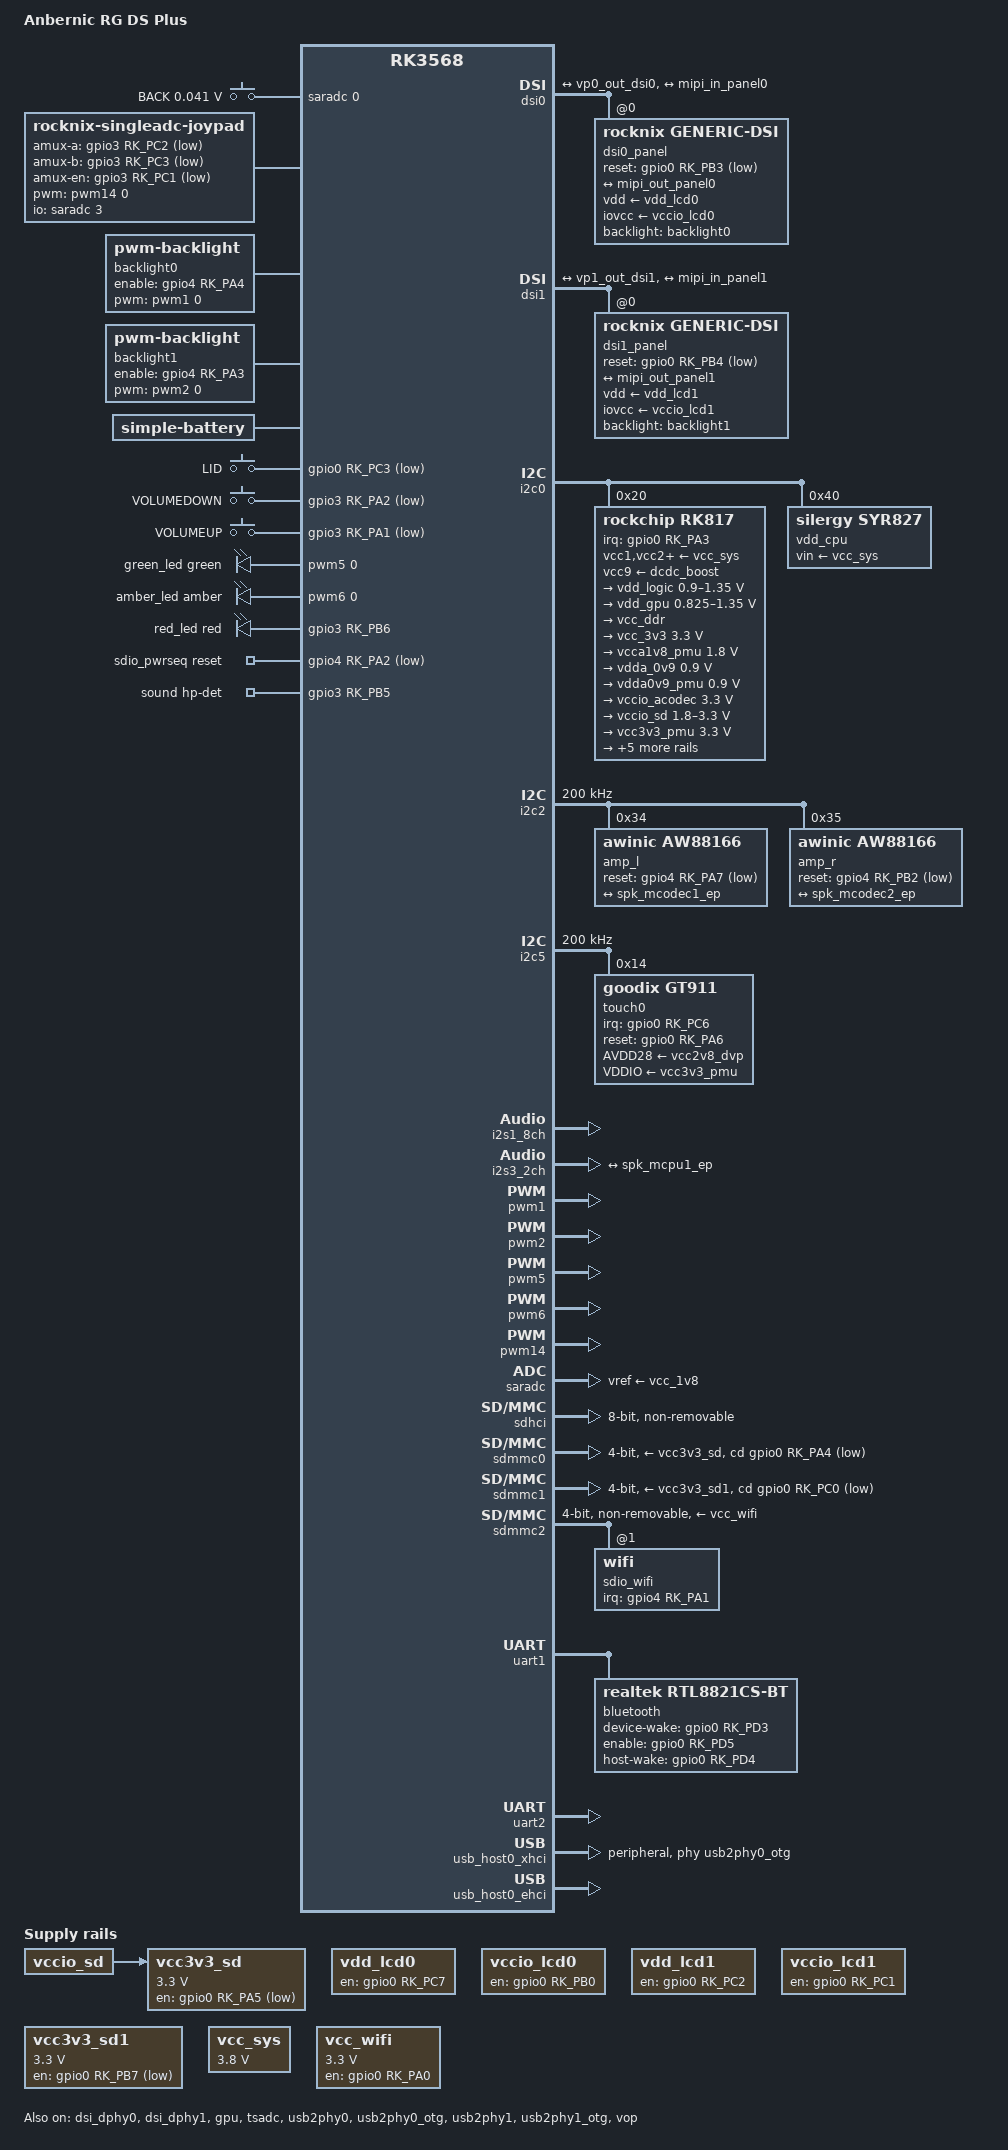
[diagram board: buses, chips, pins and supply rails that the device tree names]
// SPDX-License-Identifier: (GPL-2.0+ OR MIT)

/dts-v1/;

#include <dt-bindings/gpio/gpio.h>
#include <dt-bindings/input/gpio-keys.h>
#include <dt-bindings/input/linux-event-codes.h>
#include <dt-bindings/leds/common.h>
#include <dt-bindings/pinctrl/rockchip.h>
#include <dt-bindings/soc/rockchip,vop2.h>
#include "rockchip/rk3568.dtsi"

/ {
	model = "Anbernic RG DS Plus";
	chassis-type = "handset";
	compatible = "anbernic,rg-ds-plus", "rockchip,rk3568";

	aliases {
		mmc0 = &sdhci;
		mmc1 = &sdmmc0;
		mmc2 = &sdmmc1;
		mmc3 = &sdmmc2;
	};

	chosen: chosen {
		stdout-path = "serial2:1500000n8";
	};

	adc_keys_back: adc-keys-back {
		compatible = "adc-keys";
		io-channels = <&saradc 0>;
		io-channel-names = "buttons";
		keyup-threshold-microvolt = <1800000>;
		poll-interval = <60>;

		button-back {
			label = "BACK";
			linux,code = <BTN_Z>;
			press-threshold-microvolt = <41000>;
		};
	};

	joypad: rocknix-singleadc-joypad {
		compatible = "rocknix-singleadc-joypad";

		joypad-name = "retrogame_joypad";
		joypad-product = <0x1101>;
		joypad-revision = <0x0100>;
		joypad-vendor = <0x484B>;

		status = "okay";

		pinctrl-names = "default";
		pinctrl-0 = <&gamepad_keys_l>;

		pwms = <&pwm14 0 100000 0>;
		pwm-names = "enable";
		rumble-boost-weak = <0x00>;
		rumble-boost-strong = <0x00>;

		io-channel-names = "amux_adc";
		io-channels = <&saradc 3>;
		amux-count = <4>;
		// Batocera - single stick is on amux ch1 (X) / ch2 (Y), keep it off the right stick axes
		amux-channel-mapping = <0 3 2 1>;
		amux-a-gpios = <&gpio3 RK_PC2 GPIO_ACTIVE_LOW>;
		amux-b-gpios = <&gpio3 RK_PC3 GPIO_ACTIVE_LOW>;
		amux-en-gpios = <&gpio3 RK_PC1 GPIO_ACTIVE_LOW>;

		button-adc-scale = <2>;
		button-adc-deadzone = <64>;
		button-adc-fuzz = <32>;
		button-adc-flat = <32>;

		abs_x-p-tuning = <250>;
		abs_x-n-tuning = <250>;
		abs_y-p-tuning = <250>;
		abs_y-n-tuning = <250>;
		abs_rx-p-tuning = <250>;
		abs_rx-n-tuning = <250>;
		abs_ry-p-tuning = <250>;
		abs_ry-n-tuning = <250>;
		invert-absx;
		invert-absy;
		invert-absry;

		poll-interval = <5>;

		sw1 {
			gpios = <&gpio2 RK_PD4 GPIO_ACTIVE_LOW>;
			label = "GPIO DPAD-UP";
			linux,code = <BTN_DPAD_UP>;
		};
		sw2 {
			gpios = <&gpio2 RK_PD5 GPIO_ACTIVE_LOW>;
			label = "GPIO DPAD-DOWN";
			linux,code = <BTN_DPAD_DOWN>;
		};
		sw3 {
			gpios = <&gpio2 RK_PD7 GPIO_ACTIVE_LOW>;
			label = "GPIO DPAD-LEFT";
			linux,code = <BTN_DPAD_LEFT>;
		};
		sw4 {
			gpios = <&gpio2 RK_PD6 GPIO_ACTIVE_LOW>;
			label = "GPIO DPAD-RIGHT";
			linux,code = <BTN_DPAD_RIGHT>;
		};
		sw5 {
			gpios = <&gpio3 RK_PC0 GPIO_ACTIVE_LOW>;
			label = "GPIO BTN-B";
			linux,code = <BTN_SOUTH>;
		};
		sw6 {
			gpios = <&gpio3 RK_PB7 GPIO_ACTIVE_LOW>;
			label = "GPIO KEY BTN-A";
			linux,code = <BTN_EAST>;
		};
		sw7 {
			gpios = <&gpio3 RK_PA7 GPIO_ACTIVE_LOW>;
			label = "GPIO BTN-X";
			linux,code = <BTN_NORTH>;
		};
		sw8 {
			gpios = <&gpio3 RK_PB0 GPIO_ACTIVE_LOW>;
			label = "GPIO BTN-Y";
			linux,code = <BTN_WEST>;
		};
		sw9 {
			gpios = <&gpio3 RK_PB2 GPIO_ACTIVE_LOW>;
			label = "GPIO BTN-SELECT";
			linux,code = <BTN_SELECT>;
		};
		sw10 {
			gpios = <&gpio3 RK_PB1 GPIO_ACTIVE_LOW>;
			label = "GPIO BTN-START";
			linux,code = <BTN_START>;
		};
		sw11 {
			gpios = <&gpio2 RK_PD1 GPIO_ACTIVE_LOW>;
			label = "GPIO BTN-F";
			linux,code = <BTN_MODE>;
		};
		sw12 {
			gpios = <&gpio3 RK_PA3 GPIO_ACTIVE_LOW>;
			label = "GPIO BTN-TL";
			linux,code = <BTN_TL>;
		};
		sw13 {
			gpios = <&gpio3 RK_PA5 GPIO_ACTIVE_LOW>;
			label = "GPIO BTN-TR";
			linux,code = <BTN_TR>;
		};
		sw14 {
			gpios = <&gpio3 RK_PA4 GPIO_ACTIVE_LOW>;
			label = "GPIO BTN-TL2";
			linux,code = <BTN_TL2>;
		};
		sw15 {
			gpios = <&gpio3 RK_PA6 GPIO_ACTIVE_LOW>;
			label = "GPIO BTN-TR2";
			linux,code = <BTN_TR2>;
		};
		sw16 {
			gpios = <&gpio2 RK_PD2 GPIO_ACTIVE_LOW>;
			label = "GPIO BTN-THUMBL";
			linux,code = <BTN_THUMBL>;
		};
		sw17 {
			gpios = <&gpio2 RK_PD3 GPIO_ACTIVE_LOW>;
			label = "GPIO BTN-THUMBR";
			linux,code = <BTN_THUMBR>;
		};
	};

	backlight0: backlight0 {
		compatible = "pwm-backlight";
		enable-gpios = <&gpio4 RK_PA4 GPIO_ACTIVE_HIGH>;
		pwms = <&pwm1 0 25000 0>;
	};

	backlight1: backlight1 {
		compatible = "pwm-backlight";
		enable-gpios = <&gpio4 RK_PA3 GPIO_ACTIVE_HIGH>;
		pwms = <&pwm2 0 25000 0>;
	};

	/*
	 * Values taken from BSP device-tree. "charge-full-design-microamp-hours"
	 * uses the rk817 battery node's design_capacity, as the simple-battery
	 * node was left at 2500000. "factory-internal-resistance-micro-ohms"
	 * was set at 80 but based on context should likely be 80000.
	 *
	 * "constant-charge-current-max-microamp" is set at 10 AMPs
	 * which is likely incorrect but I cannot validate; furthermore
	 * the onboard charger of the rk817 cannot charge past 3.5A
	 * anyway.
	 */
	battery: battery {
		compatible = "simple-battery";
		charge-full-design-microamp-hours = <4247000>;
		charge-term-current-microamp = <300000>;
		constant-charge-current-max-microamp = <10000000>;
		constant-charge-voltage-max-microvolt = <4350000>;
		factory-internal-resistance-micro-ohms = <80000>;
		precharge-current-microamp = <180000>;
		precharge-upper-limit-microvolt = <3600000>;
		voltage-max-design-microvolt = <4350000>;
		voltage-min-design-microvolt = <3000000>;

		ocv-capacity-celsius = <20>;
		ocv-capacity-table-0 =  <4338000 100>, <4251000 95>,
					<4191000 90>, <4136000 85>,
					<4083000 80>, <4039000 75>,
					<3978000 70>, <3947000 65>,
					<3908000 60>, <3861000 55>,
					<3826000 50>, <3803000 45>,
					<3786000 40>, <3772000 35>,
					<3761000 30>, <3749000 25>,
					<3731000 20>, <3707000 15>,
					<3677000 10>, <3663000 5>,
					<3400000 0>;
	};

	gpio_keys_hall: gpio-keys-hall {
		compatible = "gpio-keys";
		pinctrl-0 = <&hall_int_l>;
		pinctrl-names = "default";

		lid-switch {
			gpios = <&gpio0 RK_PC3 GPIO_ACTIVE_LOW>;
			label = "LID";
			linux,code = <SW_LID>;
			linux,input-type = <EV_SW>;
			wakeup-event-action = <EV_ACT_DEASSERTED>;
			wakeup-source;
		};
	};

	gpio_keys_volume: gpio-keys-volume {
		compatible = "gpio-keys";
		autorepeat;
		pinctrl-0 = <&vol_keys_l>;
		pinctrl-names = "default";

		vol-down-key {
			gpios = <&gpio3 RK_PA2 GPIO_ACTIVE_LOW>;
			label = "VOLUMEDOWN";
			linux,code = <KEY_VOLUMEDOWN>;
		};

		vol-up-key {
			gpios = <&gpio3 RK_PA1 GPIO_ACTIVE_LOW>;
			label = "VOLUMEUP";
			linux,code = <KEY_VOLUMEUP>;
		};
	};

	leds: pwm-leds {
		compatible = "pwm-leds";

		green_led: led-0 {
			color = <LED_COLOR_ID_GREEN>;
			default-state = "on";
			function = LED_FUNCTION_POWER;
			max-brightness = <255>;
			pwms = <&pwm5 0 25000 0>;
		};

		amber_led: led-1 {
			color = <LED_COLOR_ID_AMBER>;
			function = LED_FUNCTION_CHARGING;
			max-brightness = <255>;
			pwms = <&pwm6 0 25000 0>;
		};
	};

	gpio-leds {
		compatible = "gpio-leds";
		pinctrl-0 = <&red_led_h>;
		pinctrl-names = "default";

		red_led: led-2 {
			color = <LED_COLOR_ID_RED>;
			default-state = "off";
			function = LED_FUNCTION_STATUS;
			gpios = <&gpio3 RK_PB6 GPIO_ACTIVE_HIGH>;
		};
	};

	sdio_pwrseq: sdio-pwrseq {
		compatible = "mmc-pwrseq-simple";
		clock-names = "ext_clock";
		clocks = <&rk817 1>;
		pinctrl-0 = <&wifi_enable_h>;
		pinctrl-names = "default";
		post-power-on-delay-ms = <200>;
		reset-gpios = <&gpio4 RK_PA2 GPIO_ACTIVE_LOW>;
	};

	sound {
		compatible = "simple-audio-card";
		pinctrl-0 = <&hp_det>;
		pinctrl-names = "default";
		simple-audio-card,format = "i2s";
		simple-audio-card,hp-det-gpios = <&gpio3 RK_PB5 GPIO_ACTIVE_HIGH>;
		simple-audio-card,mclk-fs = <256>;
		simple-audio-card,name = "rk817_hp";
		simple-audio-card,routing =
			"MICL", "Mic Jack",
			"Headphones", "HPOL",
			"Headphones", "HPOR";
		simple-audio-card,widgets =
			"Microphone", "Mic Jack",
			"Headphone", "Headphones";

		simple-audio-card,codec {
			sound-dai = <&rk817>;
		};

		simple-audio-card,cpu {
			sound-dai = <&i2s1_8ch>;
		};
	};

	sound-speakers {
		compatible = "audio-graph-card2";
		label = "aw88166";
		links = <&spk_mcpu>;

		multi {
			#address-cells = <1>;
			#size-cells = <0>;

			ports@0 {
				reg = <0>;
				#address-cells = <1>;
				#size-cells = <0>;

				spk_mcpu: port@0 {
					reg = <0>;
					spk_mcpu0_ep: endpoint {
						remote-endpoint = <&spk_mcodec0_ep>;
					};
				};

				port@1 {
					reg = <1>;
					spk_mcpu1_ep: endpoint {
						remote-endpoint = <&i2s3_2ch_ep>;
					};
				};
			};

			ports@1 {
				reg = <1>;
				#address-cells = <1>;
				#size-cells = <0>;

				port@0 {
					reg = <0>;
					spk_mcodec0_ep: endpoint {
						remote-endpoint = <&spk_mcpu0_ep>;
					};
				};

				port@1 {
					reg = <1>;
					spk_mcodec1_ep: endpoint {
						remote-endpoint = <&amp_l_ep>;
					};
				};

				port@2 {
					reg = <2>;
					spk_mcodec2_ep: endpoint {
						remote-endpoint = <&amp_r_ep>;
					};
				};
			};
		};
	};

	vdd_lcd0: regulator-vdd-lcd0 {
		compatible = "regulator-fixed";
		enable-active-high;
		gpio = <&gpio0 RK_PC7 GPIO_ACTIVE_HIGH>;
		pinctrl-0 = <&vdd_lcd0_h>;
		pinctrl-names = "default";
		regulator-name = "vdd_lcd0";
		regulator-state-mem {
			regulator-off-in-suspend;
		};
	};

	vccio_lcd0: regulator-vccio-lcd0 {
		compatible = "regulator-fixed";
		enable-active-high;
		gpio = <&gpio0 RK_PB0 GPIO_ACTIVE_HIGH>;
		pinctrl-0 = <&vccio_lcd0_h>;
		pinctrl-names = "default";
		regulator-name = "vccio_lcd0";
		regulator-state-mem {
			regulator-off-in-suspend;
		};
	};

	vdd_lcd1: regulator-vdd-lcd1 {
		compatible = "regulator-fixed";
		enable-active-high;
		gpio = <&gpio0 RK_PC2 GPIO_ACTIVE_HIGH>;
		pinctrl-0 = <&vdd_lcd1_h>;
		pinctrl-names = "default";
		regulator-name = "vdd_lcd1";
		regulator-state-mem {
			regulator-off-in-suspend;
		};
	};

	vccio_lcd1: regulator-vccio-lcd1 {
		compatible = "regulator-fixed";
		enable-active-high;
		gpio = <&gpio0 RK_PC1 GPIO_ACTIVE_HIGH>;
		pinctrl-0 = <&vccio_lcd1_h>;
		pinctrl-names = "default";
		regulator-name = "vccio_lcd1";
		regulator-state-mem {
			regulator-off-in-suspend;
		};
	};

	vcc3v3_sd: regulator-vcc3v3-sd {
		compatible = "regulator-fixed";
		gpio = <&gpio0 RK_PA5 GPIO_ACTIVE_LOW>;
		pinctrl-0 = <&sdmmc_pwren_l>;
		pinctrl-names = "default";
		regulator-always-on;
		regulator-boot-on;
		regulator-name = "vcc3v3_sd";
		regulator-min-microvolt = <3300000>;
		regulator-max-microvolt = <3300000>;
		vin-supply = <&vccio_sd>;
	};

	vcc3v3_sd1: regulator-vcc3v3-sd1 {
		compatible = "regulator-fixed";
		gpio = <&gpio0 RK_PB7 GPIO_ACTIVE_LOW>;
		pinctrl-0 = <&sdmmc1_pwren_l>;
		pinctrl-names = "default";
		regulator-name = "vcc3v3_sd1";
		regulator-min-microvolt = <3300000>;
		regulator-max-microvolt = <3300000>;
	};

	vcc_sys: regulator-vcc-sys {
		compatible = "regulator-fixed";
		regulator-always-on;
		regulator-boot-on;
		regulator-min-microvolt = <3800000>;
		regulator-max-microvolt = <3800000>;
		regulator-name = "vcc_sys";
	};

	vcc_wifi: regulator-vcc-wifi {
		compatible = "regulator-fixed";
		enable-active-high;
		gpio = <&gpio0 RK_PA0 GPIO_ACTIVE_HIGH>;
		pinctrl-0 = <&vcc_wifi_h>;
		pinctrl-names = "default";
		regulator-always-on;
		regulator-boot-on;
		regulator-min-microvolt = <3300000>;
		regulator-max-microvolt = <3300000>;
		regulator-name = "vcc_wifi";
	};
};

&cpu0 {
	cpu-supply = <&vdd_cpu>;
};

&cpu1 {
	cpu-supply = <&vdd_cpu>;
};

&cpu2 {
	cpu-supply = <&vdd_cpu>;
};

&cpu3 {
	cpu-supply = <&vdd_cpu>;
};

&cru {
	assigned-clocks = <&pmucru CLK_RTC_32K>, <&cru PLL_GPLL>,
			  <&pmucru PLL_PPLL>, <&pmucru PLL_HPLL>, <&cru PLL_VPLL>;
	assigned-clock-rates = <32768>, <1200000000>,
			       <200000000>, <816000000>, <816000000>;
};

&dsi0 {
	status = "okay";
	#address-cells = <1>;
	#size-cells = <0>;

	dsi0_panel: panel@0 {
		compatible = "rocknix,generic-dsi";
		reg = <0>;
		backlight = <&backlight0>;
		reset-gpios = <&gpio0 RK_PB3 GPIO_ACTIVE_LOW>;
		vdd-supply = <&vdd_lcd0>;
		iovcc-supply = <&vccio_lcd0>;
		pinctrl-names = "default";
		pinctrl-0 = <&lcd0_rst>;
		panel_description =
			"G size=87,66 delays=10,10,10,10,20 format=rgb888 lanes=2 flags=0xe03",

			"M clock=62770 horizontal=1024,120,80,80 vertical=768,16,8,8 default=1",

			"I seq=3000",
			"I seq=f749610200",
			"I seq=3001",
			"I seq=040c",
			"I seq=0b01",
			"I seq=2004", "I seq=2519",
			"I seq=2818",
			"I seq=3002",
			"I seq=0011", "I seq=0126", "I seq=0210", "I seq=0568", "I seq=0680",
			"I seq=0b0d0d030d030d0303150806",
			"I seq=0c1d1f2527292b16210d0b0d",
			"I seq=0d0d0d030d030d0303150907",
			"I seq=0e1c1e2426282a0a200d0b0d",
			"I seq=0f0d0d030d0b0d0303152a28",
			"I seq=1026241e1c0709200a0d030d",
			"I seq=110d0d030d0b0d0303152b29",
			"I seq=1227251f1d060821160d030d",
			"I seq=1300004141",
			"I seq=1400004141",
			"I seq=1a0b14",
			"I seq=3006",
			"I seq=123f242330262d34383b3222181200",
			"I seq=133f242330262c33373a3122181200",
			"I seq=3007",
			"I seq=0d01",
			"I seq=3008",
			"I seq=0501",
			"I seq=0c1a", "I seq=0d0e",
			"I seq=300a",
			"I seq=024f",
			"I seq=0b40",
			"I seq=300d",
			"I seq=100c", "I seq=110c", "I seq=120c", "I seq=130c",
			"I seq=3000",
			"I seq=1100 wait=255",
			"I seq=2900 wait=255";

		port {
			mipi_in_panel0: endpoint {
				remote-endpoint = <&mipi_out_panel0>;
			};
		};
	};

	ports {
		dsi0_in: port@0 {
			reg = <0>;
			dsi0_in_vp0: endpoint {
				remote-endpoint = <&vp0_out_dsi0>;
			};
		};

		dsi0_out: port@1 {
			reg = <1>;
			mipi_out_panel0: endpoint {
				remote-endpoint = <&mipi_in_panel0>;
			};
		};
	};
};

&dsi1 {
	status = "okay";
	#address-cells = <1>;
	#size-cells = <0>;

	dsi1_panel: panel@0 {
		compatible = "rocknix,generic-dsi";
		reg = <0>;
		backlight = <&backlight1>;
		reset-gpios = <&gpio0 RK_PB4 GPIO_ACTIVE_LOW>;
		vdd-supply = <&vdd_lcd1>;
		iovcc-supply = <&vccio_lcd1>;
		pinctrl-names = "default";
		pinctrl-0 = <&lcd1_rst>;
		panel_description =
			"G size=87,66 delays=10,10,10,10,20 format=rgb888 lanes=2 flags=0xe03",

			"M clock=62770 horizontal=1024,120,80,80 vertical=768,16,8,8 default=1",

			"I seq=3000",
			"I seq=f749610200",
			"I seq=3001",
			"I seq=040c",
			"I seq=0b01",
			"I seq=2004", "I seq=2519",
			"I seq=2818",
			"I seq=3002",
			"I seq=0011", "I seq=0126", "I seq=0210", "I seq=0568", "I seq=0680",
			"I seq=0b0d0d030d030d0303150806",
			"I seq=0c1d1f2527292b16210d0b0d",
			"I seq=0d0d0d030d030d0303150907",
			"I seq=0e1c1e2426282a0a200d0b0d",
			"I seq=0f0d0d030d0b0d0303152a28",
			"I seq=1026241e1c0709200a0d030d",
			"I seq=110d0d030d0b0d0303152b29",
			"I seq=1227251f1d060821160d030d",
			"I seq=1300004141",
			"I seq=1400004141",
			"I seq=1a0b14",
			"I seq=3006",
			"I seq=123f242330262d34383b3222181200",
			"I seq=133f242330262c33373a3122181200",
			"I seq=3007",
			"I seq=0d01",
			"I seq=3008",
			"I seq=0501",
			"I seq=0c1a", "I seq=0d0e",
			"I seq=300a",
			"I seq=024f",
			"I seq=0b40",
			"I seq=300d",
			"I seq=100c", "I seq=110c", "I seq=120c", "I seq=130c",
			"I seq=3000",
			"I seq=1100 wait=255",
			"I seq=3603",
			"I seq=2900 wait=255";

		port {
			mipi_in_panel1: endpoint {
				remote-endpoint = <&mipi_out_panel1>;
			};
		};
	};

	ports {
		dsi1_in: port@0 {
			reg = <0>;
			dsi1_in_vp1: endpoint {
				remote-endpoint = <&vp1_out_dsi1>;
			};
		};

		dsi1_out: port@1 {
			reg = <1>;
			mipi_out_panel1: endpoint {
				remote-endpoint = <&mipi_in_panel1>;
			};
		};
	};
};

&dsi_dphy0 {
	status = "okay";
};

&dsi_dphy1 {
	status = "okay";
};

&gpu {
	mali-supply = <&vdd_gpu>;
	status = "okay";
};

&i2c0 {
	status = "okay";

	rk817: pmic@20 {
		compatible = "rockchip,rk817";
		reg = <0x20>;
		assigned-clock-parents = <&cru CLK_I2S1_8CH_TX>;
		assigned-clocks = <&cru I2S1_MCLKOUT_TX>;
		#clock-cells = <1>;
		clock-names = "mclk";
		clock-output-names = "rk808-clkout1", "rk808-clkout2";
		clocks = <&cru I2S1_MCLKOUT_TX>;
		interrupt-parent = <&gpio0>;
		interrupts = <RK_PA3 IRQ_TYPE_LEVEL_LOW>;
		pinctrl-0 = <&i2s1m0_mclk &pmic_int_l>;
		pinctrl-names = "default";
		#sound-dai-cells = <0>;
		system-power-controller;
		wakeup-source;

		vcc1-supply = <&vcc_sys>;
		vcc2-supply = <&vcc_sys>;
		vcc3-supply = <&vcc_sys>;
		vcc4-supply = <&vcc_sys>;
		vcc5-supply = <&vcc_sys>;
		vcc6-supply = <&vcc_sys>;
		vcc7-supply = <&vcc_sys>;
		vcc8-supply = <&vcc_sys>;
		vcc9-supply = <&dcdc_boost>;

		regulators {
			vdd_logic: DCDC_REG1 {
				regulator-always-on;
				regulator-boot-on;
				regulator-initial-mode = <0x2>;
				regulator-max-microvolt = <1350000>;
				regulator-min-microvolt = <900000>;
				regulator-name = "vdd_logic";
				regulator-ramp-delay = <6001>;
				regulator-state-mem {
					regulator-on-in-suspend;
					regulator-suspend-microvolt = <900000>;
				};
			};

			vdd_gpu: DCDC_REG2 {
				regulator-always-on;
				regulator-boot-on;
				regulator-initial-mode = <0x2>;
				regulator-max-microvolt = <1350000>;
				regulator-min-microvolt = <825000>;
				regulator-name = "vdd_gpu";
				regulator-ramp-delay = <6001>;
				regulator-state-mem {
					regulator-off-in-suspend;
				};
			};

			vcc_ddr: DCDC_REG3 {
				regulator-always-on;
				regulator-boot-on;
				regulator-initial-mode = <0x2>;
				regulator-name = "vcc_ddr";
				regulator-state-mem {
					regulator-on-in-suspend;
				};
			};

			vcc_3v3: DCDC_REG4 {
				regulator-always-on;
				regulator-boot-on;
				regulator-initial-mode = <0x2>;
				regulator-max-microvolt = <3300000>;
				regulator-min-microvolt = <3300000>;
				regulator-name = "vcc_3v3";
				regulator-state-mem {
					regulator-on-in-suspend;
					regulator-suspend-microvolt = <3300000>;
				};
			};

			vcca1v8_pmu: LDO_REG1 {
				regulator-always-on;
				regulator-boot-on;
				regulator-max-microvolt = <1800000>;
				regulator-min-microvolt = <1800000>;
				regulator-name = "vcca1v8_pmu";
				regulator-state-mem {
					regulator-on-in-suspend;
					regulator-suspend-microvolt = <1800000>;
				};
			};

			vdda_0v9: LDO_REG2 {
				regulator-always-on;
				regulator-boot-on;
				regulator-max-microvolt = <900000>;
				regulator-min-microvolt = <900000>;
				regulator-name = "vdda_0v9";
				regulator-state-mem {
					regulator-off-in-suspend;
				};
			};

			vdda0v9_pmu: LDO_REG3 {
				regulator-always-on;
				regulator-boot-on;
				regulator-max-microvolt = <900000>;
				regulator-min-microvolt = <900000>;
				regulator-name = "vdda0v9_pmu";
				regulator-state-mem {
					regulator-on-in-suspend;
					regulator-suspend-microvolt = <900000>;
				};
			};

			vccio_acodec: LDO_REG4 {
				regulator-always-on;
				regulator-boot-on;
				regulator-max-microvolt = <3300000>;
				regulator-min-microvolt = <3300000>;
				regulator-name = "vccio_acodec";
				regulator-state-mem {
					regulator-off-in-suspend;
				};
			};

			vccio_sd: LDO_REG5 {
				regulator-always-on;
				regulator-boot-on;
				regulator-max-microvolt = <3300000>;
				regulator-min-microvolt = <1800000>;
				regulator-name = "vccio_sd";
				regulator-state-mem {
					regulator-off-in-suspend;
				};
			};

			vcc3v3_pmu: LDO_REG6 {
				regulator-always-on;
				regulator-boot-on;
				regulator-max-microvolt = <3300000>;
				regulator-min-microvolt = <3300000>;
				regulator-name = "vcc3v3_pmu";
				regulator-state-mem {
					regulator-on-in-suspend;
					regulator-suspend-microvolt = <3300000>;
				};
			};

			vcc_1v8: LDO_REG7 {
				regulator-always-on;
				regulator-boot-on;
				regulator-max-microvolt = <1800000>;
				regulator-min-microvolt = <1800000>;
				regulator-name = "vcc_1v8";
				regulator-state-mem {
					regulator-on-in-suspend;
				};
			};

			vcc1v8_dvp: LDO_REG8 {
				regulator-always-on;
				regulator-boot-on;
				regulator-max-microvolt = <3300000>;
				regulator-min-microvolt = <1800000>;
				regulator-name = "vcc1v8_dvp";
				regulator-state-mem {
					regulator-off-in-suspend;
				};
			};

			vcc2v8_dvp: LDO_REG9 {
				regulator-always-on;
				regulator-boot-on;
				regulator-max-microvolt = <2800000>;
				regulator-min-microvolt = <2800000>;
				regulator-name = "vcc2v8_dvp";
				regulator-state-mem {
					regulator-off-in-suspend;
				};
			};

			dcdc_boost: BOOST {
				regulator-always-on;
				regulator-boot-on;
				regulator-max-microvolt = <5400000>;
				regulator-min-microvolt = <4700000>;
				regulator-name = "boost";
				regulator-state-mem {
					regulator-off-in-suspend;
				};
			};

			otg_switch: OTG_SWITCH {
				regulator-name = "otg_switch";
				regulator-state-mem {
					regulator-off-in-suspend;
				};
			};
		};

		rk817_codec: codec {
			rockchip,mic-in-differential;
		};

		rk817_charger: charger {
			monitored-battery = <&battery>;
			rockchip,resistor-sense-micro-ohms = <10000>;
			rockchip,sleep-enter-current-microamp = <150000>;
			rockchip,sleep-filter-current-microamp = <100000>;
		};
	};

	/* Unused vendor "deeplay" device at 0x3c */

	vdd_cpu: regulator@40 {
		compatible = "silergy,syr827";
		reg = <0x40>;
		fcs,suspend-voltage-selector = <1>;
		regulator-always-on;
		regulator-boot-on;
		regulator-max-microvolt = <1390000>;
		regulator-min-microvolt = <712500>;
		regulator-name = "vdd_cpu";
		regulator-ramp-delay = <2300>;
		vin-supply = <&vcc_sys>;
		regulator-state-mem {
			regulator-off-in-suspend;
		};
	};

	/*
	 * Currently the rk817_charger and the cw2015 don't work together.
	 * Disable the cw2015 for now because it performs the same function
	 * as the rk817_charger for battery monitoring.
	 */
	cw2015: battery@62 {
		compatible = "cellwise,cw2015";
		reg = <0x62>;
		cellwise,battery-profile = /bits/ 8
				< 0x17 0x67 0x80 0x6E 0x68 0x64 0x61 0x55
				 0x71 0x53 0x54 0x56 0x4F 0x4E 0x46 0x38
				 0x2D 0x25 0x20 0x1B 0x20 0x29 0x3B 0x49
				 0x3A 0x15 0x0D 0x91 0x3E 0x5F 0x5E 0x76
				 0x80 0x7D 0x80 0x81 0x3B 0x1A 0x6C 0x6C
				 0x0B 0x41 0x1C 0x4D 0x80 0x95 0xA0 0x14
				 0x38 0x7E 0x98 0xA3 0x80 0x8A 0x9D 0xCB
				 0x2F 0x00 0x64 0xA5 0xB5 0xC1 0x46 0xAE>;
		cellwise,monitor-interval-ms = <3000>;
		monitored-battery = <&battery>;
		power-supplies = <&rk817_charger>;
		status = "disabled";
	};
};

&i2c2 {
	clock-frequency = <200000>;
	pinctrl-0 = <&i2c2m1_xfer>;
	pinctrl-names = "default";
	status = "okay";

	amp_l: audio-codec@34 {
		compatible = "awinic,aw88166";
		reg = <0x34>;
		#sound-dai-cells = <0>;
		reset-gpios = <&gpio4 RK_PA7 GPIO_ACTIVE_LOW>;
		sound-name-prefix = "Left";
		awinic,audio-channel = <0>;
		awinic,sync-flag;

		port {
			amp_l_ep: endpoint {
				remote-endpoint = <&spk_mcodec1_ep>;
			};
		};
	};

	amp_r: audio-codec@35 {
		compatible = "awinic,aw88166";
		reg = <0x35>;
		#sound-dai-cells = <0>;
		reset-gpios = <&gpio4 RK_PB2 GPIO_ACTIVE_LOW>;
		sound-name-prefix = "Right";
		awinic,audio-channel = <1>;
		awinic,sync-flag;

		port {
			amp_r_ep: endpoint {
				remote-endpoint = <&spk_mcodec2_ep>;
			};
		};
	};

	/* invensense,icm42607p at 0x68 */
};

&i2c5 {
	clock-frequency = <200000>;
	pinctrl-0 = <&i2c5m0_xfer>;
	pinctrl-names = "default";
	status = "okay";

	touch0: touchscreen@14 {
		compatible = "goodix,gt911";
		reg = <0x14>;
		AVDD28-supply = <&vcc2v8_dvp>;
		interrupt-parent = <&gpio0>;
		interrupts = <RK_PC6 IRQ_TYPE_LEVEL_LOW>;
		irq-gpios = <&gpio0 RK_PC6 GPIO_ACTIVE_HIGH>;
		reset-gpios = <&gpio0 RK_PA6 GPIO_ACTIVE_HIGH>;
		touchscreen-size-x = <1024>;
		touchscreen-size-y = <768>;
		pinctrl-0 = <&touch0_rst &touch0_irq>;
		pinctrl-names = "default";
		VDDIO-supply = <&vcc3v3_pmu>;
	};
};

&i2s1_8ch {
	pinctrl-0 = <&i2s1m0_sclktx &i2s1m0_lrcktx &i2s1m0_sdi0 &i2s1m0_sdo0>;
	pinctrl-names = "default";
	rockchip,trcm-sync-tx-only;
	status = "okay";
};

&i2s3_2ch {
	assigned-clocks = <&cru CLK_I2S3_2CH_TX_SRC>, <&cru CLK_I2S3_2CH_TX>;
	assigned-clock-rates = <1188000000>, <12288000>;
	pinctrl-0 = <&i2s3m1_sclk &i2s3m1_lrck &i2s3m1_sdo>;
	pinctrl-names = "default";
	rockchip,trcm-sync-tx-only;
	status = "okay";

	port {
		i2s3_2ch_ep: endpoint {
			remote-endpoint = <&spk_mcpu1_ep>;
			bitclock-master;
			frame-master;
			format = "i2s";
		};
	};
};

&pinctrl {
	gpio-keys {
		vol_keys_l: vol-keys_l {
			rockchip,pins =
				<3 RK_PA1 RK_FUNC_GPIO &pcfg_pull_up>,
				<3 RK_PA2 RK_FUNC_GPIO &pcfg_pull_up>;
		};

		gamepad_keys_l: gamepad-keys-l {
			rockchip,pins =
				<2 RK_PD1 RK_FUNC_GPIO &pcfg_pull_up>,
				<2 RK_PD2 RK_FUNC_GPIO &pcfg_pull_up>,
				<2 RK_PD3 RK_FUNC_GPIO &pcfg_pull_up>,
				<2 RK_PD4 RK_FUNC_GPIO &pcfg_pull_up>,
				<2 RK_PD5 RK_FUNC_GPIO &pcfg_pull_up>,
				<2 RK_PD6 RK_FUNC_GPIO &pcfg_pull_up>,
				<2 RK_PD7 RK_FUNC_GPIO &pcfg_pull_up>,
				<3 RK_PA3 RK_FUNC_GPIO &pcfg_pull_up>,
				<3 RK_PA4 RK_FUNC_GPIO &pcfg_pull_up>,
				<3 RK_PA5 RK_FUNC_GPIO &pcfg_pull_up>,
				<3 RK_PA6 RK_FUNC_GPIO &pcfg_pull_up>,
				<3 RK_PA7 RK_FUNC_GPIO &pcfg_pull_up>,
				<3 RK_PB0 RK_FUNC_GPIO &pcfg_pull_up>,
				<3 RK_PB1 RK_FUNC_GPIO &pcfg_pull_up>,
				<3 RK_PB2 RK_FUNC_GPIO &pcfg_pull_up>,
				<3 RK_PB7 RK_FUNC_GPIO &pcfg_pull_up>,
				<3 RK_PC0 RK_FUNC_GPIO &pcfg_pull_up>;
		};
	};

	gpio-lcd {
		lcd0_rst: lcd0-rst {
			rockchip,pins =
				<0 RK_PB3 RK_FUNC_GPIO &pcfg_pull_none>;
		};

		lcd1_rst: lcd1-rst {
			rockchip,pins =
				<0 RK_PB4 RK_FUNC_GPIO &pcfg_pull_none>;
		};
	};

	gpio-leds {
		red_led_h: red-led-h {
			rockchip,pins =
				<3 RK_PB6 RK_FUNC_GPIO &pcfg_pull_none>;
		};
	};

	hall-sensor {
		hall_int_l: hal-int-l {
			rockchip,pins =
				<0 RK_PC3 RK_FUNC_GPIO &pcfg_pull_up>;
		};
	};

	hp-detect {
		hp_det: hp-det {
			rockchip,pins =
				<3 RK_PB5 RK_FUNC_GPIO &pcfg_pull_none>;
		};
	};

	pmic {
		pmic_int_l: pmic-int-l {
			rockchip,pins =
				<0 RK_PA3 RK_FUNC_GPIO &pcfg_pull_up>;
		};
	};

	sdio-pwrseq {
		wifi_enable_h: wifi-enable-h {
			rockchip,pins =
				<4 RK_PA2 RK_FUNC_GPIO &pcfg_pull_none>;
		};
	};

	sdmmc {
		sdmmc_pwren_l: sdmmc-pwren-l {
			rockchip,pins =
				<0 RK_PA5 RK_FUNC_GPIO &pcfg_pull_none>;
		};

		sdmmc1_pwren_l: sdmmc1-pwren-l {
			rockchip,pins =
				<0 RK_PB7 RK_FUNC_GPIO &pcfg_pull_none>;
		};
	};

	touch {
		touch0_rst: touch0-rst {
			rockchip,pins =
				<0 RK_PA6 RK_FUNC_GPIO &pcfg_pull_up>;
		};

		touch0_irq: touch0-irq {
			rockchip,pins =
				<0 RK_PC6 RK_FUNC_GPIO &pcfg_pull_up>;
		};
	};

	vcc-lcd {
		vdd_lcd0_h: vdd-lcd0-h {
			rockchip,pins =
				<0 RK_PC7 RK_FUNC_GPIO &pcfg_pull_none>;
		};

		vccio_lcd0_h: vccio-lcd0-h {
			rockchip,pins =
				<0 RK_PB0 RK_FUNC_GPIO &pcfg_pull_none>;
		};

		vdd_lcd1_h: vdd-lcd1-h {
			rockchip,pins =
				<0 RK_PC2 RK_FUNC_GPIO &pcfg_pull_none>;
		};

		vccio_lcd1_h: vccio-lcd1-h {
			rockchip,pins =
				<0 RK_PC1 RK_FUNC_GPIO &pcfg_pull_none>;
		};
	};

	vcc-wifi {
		vcc_wifi_h: vcc-wifi-h {
			rockchip,pins =
				<0 RK_PA0 RK_FUNC_GPIO &pcfg_pull_none>;
		};
	};

	wifi-irq {
		wifi_host_wake_irq: wifi-host-wake-irq {
			rockchip,pins =
				<4 RK_PA1 RK_FUNC_GPIO &pcfg_pull_down>;
		};
	};
};

&pmu_io_domains {
	status = "okay";
	pmuio1-supply = <&vcc3v3_pmu>;
	pmuio2-supply = <&vcc3v3_pmu>;
	vccio1-supply = <&vccio_acodec>;
	vccio3-supply = <&vccio_sd>;
	vccio4-supply = <&vcc1v8_dvp>;
	vccio5-supply = <&vcc_3v3>;
	vccio6-supply = <&vcc_1v8>;
	vccio7-supply = <&vcc_1v8>;
};

&pwm1 {
	pinctrl-0 = <&pwm1m1_pins>;
	pinctrl-names = "default";
	status = "okay";
};

&pwm2 {
	pinctrl-0 = <&pwm2m1_pins>;
	pinctrl-names = "default";
	status = "okay";
};

&pwm5 {
	pinctrl-0 = <&pwm5_pins>;
	pinctrl-names = "default";
	status = "okay";
};

&pwm6 {
	pinctrl-0 = <&pwm6_pins>;
	pinctrl-names = "default";
	status = "okay";
};

&pwm14 {
	pinctrl-0 = <&pwm14m0_pins>;
	pinctrl-names = "default";
	status = "okay";
};

&saradc {
	vref-supply = <&vcc_1v8>;
	status = "okay";
};

&sdhci {
	bus-width = <8>;
	max-frequency = <200000000>;
	no-sd;
	no-sdio;
	non-removable;
	pinctrl-0 = <&emmc_bus8 &emmc_clk &emmc_cmd &emmc_datastrobe &emmc_rstnout>;
	pinctrl-names = "default";
	status = "okay";
};

&sdmmc0 {
	bus-width = <4>;
	cap-sd-highspeed;
	cd-gpios = <&gpio0 RK_PA4 GPIO_ACTIVE_LOW>;
	disable-wp;
	pinctrl-0 = <&sdmmc0_bus4 &sdmmc0_clk &sdmmc0_cmd &sdmmc0_det>;
	pinctrl-names = "default";
	sd-uhs-sdr104;
	vmmc-supply = <&vcc3v3_sd>;
	vqmmc-supply = <&vccio_sd>;
	status = "okay";
};

&sdmmc1 {
	bus-width = <4>;
	cap-sd-highspeed;
	cd-gpios = <&gpio0 RK_PC0 GPIO_ACTIVE_LOW>;
	disable-wp;
	pinctrl-0 = <&sdmmc1_bus4 &sdmmc1_clk &sdmmc1_cmd>;
	pinctrl-names = "default";
	sd-uhs-sdr104;
	vmmc-supply = <&vcc3v3_sd1>;
	vqmmc-supply = <&vcc1v8_dvp>;
	status = "okay";
};

&sdmmc2 {
	#address-cells = <1>;
	bus-width = <4>;
	cap-sd-highspeed;
	cap-sdio-irq;
	keep-power-in-suspend;
	max-frequency = <100000000>;
	mmc-pwrseq = <&sdio_pwrseq>;
	non-removable;
	pinctrl-0 = <&sdmmc2m0_bus4 &sdmmc2m0_clk &sdmmc2m0_cmd>;
	pinctrl-names = "default";
	sd-uhs-sdr104;
	#size-cells = <0>;
	vmmc-supply = <&vcc_wifi>;
	status = "okay";

	sdio_wifi: wifi@1 {
		reg = <1>;
		interrupt-parent = <&gpio4>;
		interrupts = <RK_PA1 IRQ_TYPE_LEVEL_LOW>;
		interrupt-names = "host-wake";
		pinctrl-0 = <&wifi_host_wake_irq>;
		pinctrl-names = "default";
	};
};

&tsadc {
	rockchip,hw-tshut-mode = <0>;
	rockchip,hw-tshut-polarity = <0>;
	status = "okay";
};

&uart1 {
	pinctrl-0 = <&uart1m1_xfer &uart1m1_ctsn &uart1m1_rtsn>;
	pinctrl-names = "default";
	uart-has-rtscts;
	status = "okay";

	bluetooth {
		compatible = "realtek,rtl8821cs-bt", "realtek,rtl8723bs-bt";
		device-wake-gpios = <&gpio0 RK_PD3 GPIO_ACTIVE_HIGH>;
		enable-gpios = <&gpio0 RK_PD5 GPIO_ACTIVE_HIGH>;
		host-wake-gpios = <&gpio0 RK_PD4 GPIO_ACTIVE_HIGH>;
	};
};

/* No DMA for a debug serial console. */
&uart2 {
	/delete-property/ dmas;
	status = "okay";
};

&usb_host0_xhci {
	dr_mode = "peripheral";
	phy-names = "usb2-phy";
	phys = <&usb2phy0_otg>;
	maximum-speed = "high-speed";
	status = "okay";
};

&usb_host0_ehci {
	status = "okay";
};

&usb2phy0 {
	status = "okay";
};

&usb2phy0_otg {
	status = "okay";
};

&usb2phy1 {
	status = "okay";
};

&usb2phy1_otg {
	status = "okay";
};

&vop {
	assigned-clocks = <&cru DCLK_VOP0>, <&cru DCLK_VOP1>;
	assigned-clock-parents = <&pmucru PLL_HPLL>, <&cru PLL_VPLL>;
	status = "okay";
};

&vop_mmu {
	status = "okay";
};

&vp0 {
	vp0_out_dsi0: endpoint@ROCKCHIP_VOP2_EP_MIPI0 {
		reg = <ROCKCHIP_VOP2_EP_MIPI0>;
		remote-endpoint = <&dsi0_in_vp0>;
	};
};

&vp1 {
	vp1_out_dsi1: endpoint@ROCKCHIP_VOP2_EP_MIPI1 {
		reg = <ROCKCHIP_VOP2_EP_MIPI1>;
		remote-endpoint = <&dsi1_in_vp1>;
	};
};

/* Disabled due to PM issues */
&usb_host0_ohci {
	status = "disabled";
};
